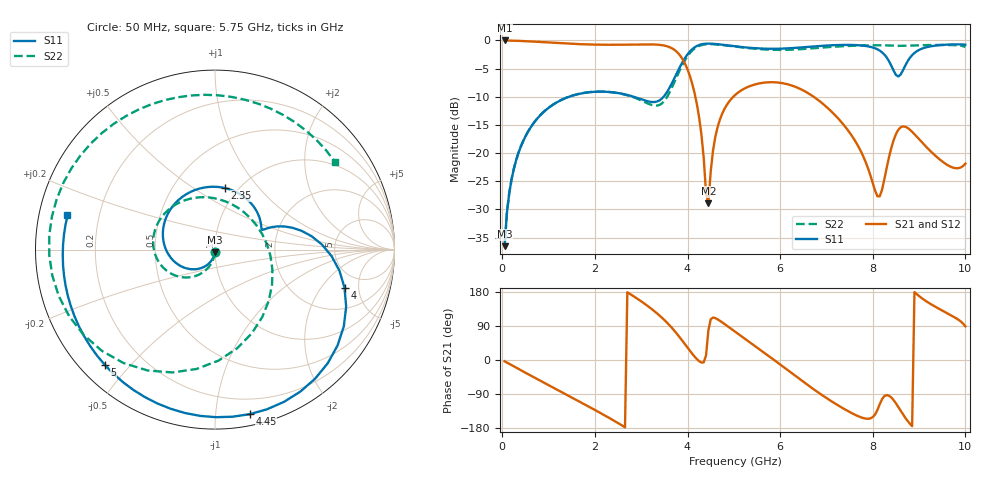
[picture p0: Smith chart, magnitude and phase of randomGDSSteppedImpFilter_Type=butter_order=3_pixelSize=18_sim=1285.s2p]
! freq	dB(S11)	phase(S11)	dB(S12)	phase(S12)
!  dB(S21)	phase(S21)	dB(S22)	phase(S22)
!S-par simulation data
#  GHz  S  DB  R 50
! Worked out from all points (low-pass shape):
!   200 points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, 50 MHz to 10 GHz, reference 50 ohm
!   highest |S21| = -0.01 dB at 50 MHz (marker M1); lowest = -28.9 dB at 4.45 GHz (marker M2)
!   |S21| within 3 dB of the highest: start of sweep to 3.867 GHz
!   lowest |S11| = -36.5 dB at 50 MHz (marker M3), VSWR 1.03, Z = 49.9 - j1.49 ohm
!   |S11| at or under -10 dB: start of sweep to 1.443 GHz; 2.838 GHz to 3.482 GHz (644.2 MHz wide, 20.4 % of centre)
!   |S22| runs from -36.5 to -0.7 dB; largest |S21 - S12| = 0
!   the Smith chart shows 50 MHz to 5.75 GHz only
!   S11 on the Smith chart (normalised r, x): 50 MHz: 1.00, -0.03; 2.35 GHz: 0.87, +0.68; 4 GHz: 3.54, -3.46; 4.45 GHz: 0.08, -1.23; 5 GHz: 0.07, -0.43; 5.75 GHz: 0.09, +0.11
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0.05  -36.53 -93.5  -0.01 -3.4  -0.01 -3.4  -36.51 -92.2
0.2  -24.67 -106.2  -0.04 -13.5  -0.04 -13.5  -24.65 -101.0
0.5  -17.04 -130.5  -0.13 -33.6  -0.13 -33.6  -17.02 -117.5
1.75  -9.35 129.7  -0.69 -115.2  -0.69 -115.2  -9.33 178.9
2.35  -9.18 80.7  -0.77 -155.7  -0.77 -155.7  -9.19 147.3
3.4  -10.62 22.3  -0.79 116.9  -0.79 116.9  -11.44 30.2
3.75  -6.13 12.2  -1.89 72.4  -1.89 72.4  -6.77 -54.9
4  -2.47 -16.4  -5.15 32.6  -5.15 32.6  -2.80 -109.1
4.45  -0.56 -78.1  -28.95 78.1  -28.95 78.1  -0.66 175.0
4.65  -0.67 -100.4  -15.36 107.3  -15.36 107.3  -0.73 150.5
5  -1.03 -133.7  -9.90 77.2  -9.90 77.2  -1.07 113.8
5.05  -1.07 -138.0  -9.53 72.8  -9.53 72.8  -1.12 108.8
5.75  -1.48 167.0  -7.43 10.8  -7.43 10.8  -1.64 36.1
6.2  -1.39 134.3  -7.88 -30.3  -7.88 -30.3  -1.66 -16.1
6.7  -1.08 97.7  -9.87 -75.3  -9.87 -75.3  -1.40 -73.2
7.8  -0.93 9.1  -20.69 -153.4  -20.69 -153.4  -0.89 -168.8
8.15  -1.81 -35.2  -27.68 -116.8  -27.68 -116.8  -0.86 168.3
8.35  -3.68 -82.3  -20.75 -94.3  -20.75 -94.3  -0.90 156.3
8.55  -6.40 -177.5  -15.88 -123.8  -15.88 -123.8  -0.96 145.4
8.8  -3.10 77.0  -15.84 -167.9  -15.84 -167.9  -0.91 132.7
9.25  -1.04 13.2  -19.69 147.6  -19.69 147.6  -0.81 109.9
10  -0.76 -31.9  -21.88 88.8  -21.88 88.8  -1.14 72.5
